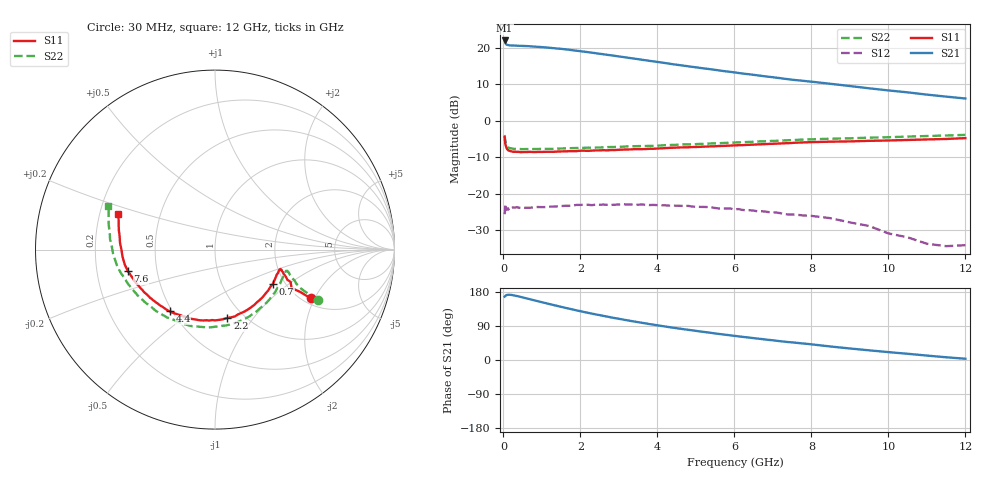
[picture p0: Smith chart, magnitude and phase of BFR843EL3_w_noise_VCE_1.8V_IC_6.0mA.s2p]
! Infineon Technologies  Discrete & RF Semiconductors
! BFR843EL3
! VCE =  1.8 V,  IC =  6.0 mA
! Common Emitter S-Parameters:  Aug 2013
# GHz  S  MA  R  50
!  f  S11  S21  S12  S22
! GHz  MAG  ANG  MAG  ANG  MAG  ANG  MAG  ANG
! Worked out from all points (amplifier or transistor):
!   103 points, 30 MHz to 12 GHz, reference 50 ohm
!   highest |S21| = 22.1 dB at 30 MHz (marker M1)
!   |S21| within 3 dB of that: start of sweep to 2.034 GHz
!   unconditionally stable (mu >= 1): 6.22 GHz to end of sweep
!   at 400 MHz: K = 0.99, MSG = 22.3 dB, |S12| = -23.9 dB
!   at 3.7 GHz: K = 0.80, MSG = 19.9 dB, |S12| = -23.1 dB
!   at 12 GHz: K = 4.82, MAG = 10.4 dB, |S12| = -34.2 dB
!   lowest NFmin = 0.89 dB at 450 MHz
!   S11 on the Smith chart (normalised r, x): 30 MHz: 2.20, -1.86; 700 MHz: 1.74, -0.77; 2.2 GHz: 0.84, -0.75; 4.4 GHz: 0.49, -0.41; 7.6 GHz: 0.34, -0.11; 12 GHz: 0.28, +0.17
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0.03  0.5977 -27.0  12.74 167.2  0.0519 30.1  0.6383 -25.9
0.04  0.5293 -26.4  12.13 168.1  0.0572 27.9  0.5686 -25.2
0.06  0.4586 -23.2  11.47 170.0  0.0601 14.1  0.4922 -22.8
0.1  0.4051 -19.4  11.07 171.9  0.0608 12.3  0.443 -18.8
0.15  0.3889 -17.1  10.93 172.3  0.0614 5.7  0.4236 -16.8
0.35  0.3742 -19.0  10.79 168.8  0.065 2.6  0.4098 -19.3
0.7  0.3744 -30.5  10.58 160.1  0.0638 3.4  0.4079 -31.3
1.1  0.3751 -44.7  10.22 150.0  0.0652 2.6  0.4122 -45.9
1.5  0.3795 -58.2  9.765 140.2  0.0673 1.0  0.4158 -59.8
1.7  0.3823 -64.4  9.498 135.5  0.0679 0.3  0.4198 -66.4
2.1  0.3881 -76.6  8.93 126.5  0.0703 -1.0  0.4257 -78.9
2.2  0.3862 -79.7  8.789 124.4  0.0701 -1.9  0.427 -81.5
2.8  0.3966 -94.8  7.954 112.4  0.0698 -4.4  0.4361 -97.1
3.2  0.4036 -103.7  7.411 105.0  0.0707 -7.4  0.4451 -106.5
4.1  0.4183 -121.0  6.349 90.0  0.069 -10.8  0.4586 -123.5
4.4  0.4265 -126.2  6.004 85.4  0.0683 -12.3  0.4668 -128.7
5.1  0.4385 -136.9  5.35 75.4  0.0656 -17.3  0.4811 -139.2
6.1  0.4617 -149.7  4.553 62.5  0.0612 -21.0  0.5057 -152.1
7.6  0.501 -166.2  3.629 45.5  0.0511 -26.2  0.5466 -168.3
8.5  0.5169 -175.6  3.227 35.6  0.0458 -29.7  0.568 -177.4
10.5  0.5459 168.8  2.463 16.4  0.025 -25.0  0.6072 167.1
12  0.5783 159.7  2.028 3.3  0.0195 18.1  0.6409 157.8
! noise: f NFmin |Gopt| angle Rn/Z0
0.45  0.89  0.14  15  0.14
0.9  0.89  0.15  33  0.14
1.5  0.93  0.16  47  0.14
1.9  0.95  0.16  51  0.14
2.4  0.97  0.17  64  0.13
3.5  1.01  0.18  85  0.13
5.5  1.09  0.22  121  0.11
8  1.18  0.31  161  0.08
10  1.25  0.41  206  0.05
